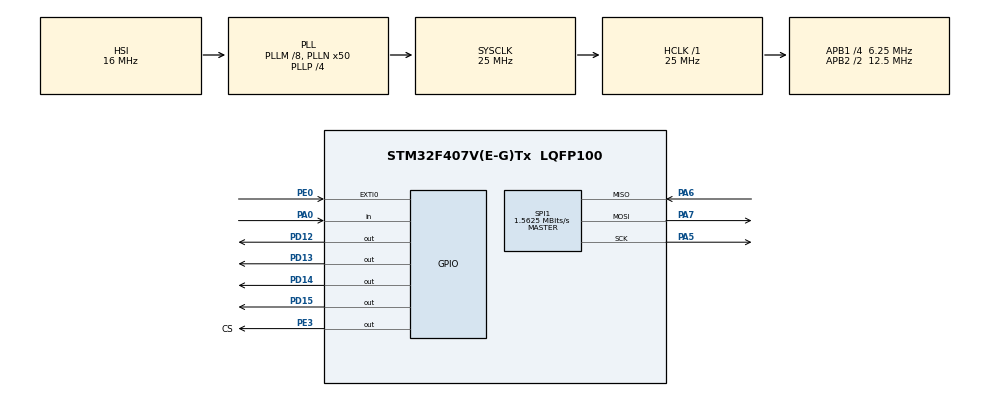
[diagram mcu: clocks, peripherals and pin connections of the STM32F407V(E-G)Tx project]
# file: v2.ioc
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Mcu.Family=STM32F4
Mcu.Name=STM32F407V(E-G)Tx
Mcu.Package=LQFP100
NVIC.EXTI0_IRQn=true\:0\:0\:false\:false\:true\:true
NVIC.PriorityGroup=NVIC_PRIORITYGROUP_0
PA0-WKUP.Signal=GPIO_Input
PA5.Mode=Full_Duplex_Master
PA5.Signal=SPI1_SCK
PA6.Mode=Full_Duplex_Master
PA6.Signal=SPI1_MISO
PA7.Mode=Full_Duplex_Master
PA7.Signal=SPI1_MOSI
PD12.Signal=GPIO_Output
PD13.Signal=GPIO_Output
PD14.Signal=GPIO_Output
PD15.Signal=GPIO_Output
PE0.Signal=GPXTI0
PE3.GPIO_Label=CS
PE3.Signal=GPIO_Output
ProjectManager.HeapSize=0x200
ProjectManager.StackSize=0x400
ProjectManager.TargetToolchain=TrueSTUDIO
RCC.48MHZClocksFreq_Value=14285714.285714285
RCC.AHBFreq_Value=25000000
RCC.APB1CLKDivider=RCC_HCLK_DIV4
RCC.APB1Freq_Value=6250000
RCC.APB1TimFreq_Value=12500000
RCC.APB2CLKDivider=RCC_HCLK_DIV2
RCC.APB2Freq_Value=12500000
RCC.APB2TimFreq_Value=25000000
RCC.CortexFreq_Value=25000000
RCC.HCLKFreq_Value=25000000
RCC.HSE_VALUE=8000000
RCC.HSI_VALUE=16000000
RCC.LSE_VALUE=32768
RCC.PLLM=8
RCC.PLLN=50
RCC.PLLP=RCC_PLLP_DIV4
RCC.PLLQ=7
RCC.SYSCLKFreq_VALUE=25000000
RCC.SYSCLKSource=RCC_SYSCLKSOURCE_PLLCLK
RCC.VCOOutputFreq_Value=100000000
SPI1.BaudRatePrescaler=SPI_BAUDRATEPRESCALER_8
SPI1.CalculateBaudRate=1.5625 MBits/s
SPI1.Direction=SPI_DIRECTION_2LINES
SPI1.Mode=SPI_MODE_MASTER
SPI1.VirtualType=VM_MASTER
board=STM32F4DISCOVERY

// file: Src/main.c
/* USER CODE BEGIN Header */
/**
  ******************************************************************************
  * @file           : main.c
  * @brief          : Main program body
  ******************************************************************************
  ** This notice applies to any and all portions of this file
  * that are not between comment pairs USER CODE BEGIN and
  * USER CODE END. Other portions of this file, whether
  * inserted by the user or by software development tools
  * are owned by their respective copyright owners.
  *
  * COPYRIGHT(c) 2019 STMicroelectronics
  *
  * Redistribution and use in source and binary forms, with or without modification,
  * are permitted provided that the following conditions are met:
  *   1. Redistributions of source code must retain the above copyright notice,
  *      this list of conditions and the following disclaimer.
  *   2. Redistributions in binary form must reproduce the above copyright notice,
  *      this list of conditions and the following disclaimer in the documentation
  *      and/or other materials provided with the distribution.
  *   3. Neither the name of STMicroelectronics nor the names of its contributors
  *      may be used to endorse or promote products derived from this software
  *      without specific prior written permission.
  *
  * THIS SOFTWARE IS PROVIDED BY THE COPYRIGHT HOLDERS AND CONTRIBUTORS "AS IS"
  * AND ANY EXPRESS OR IMPLIED WARRANTIES, INCLUDING, BUT NOT LIMITED TO, THE
  * IMPLIED WARRANTIES OF MERCHANTABILITY AND FITNESS FOR A PARTICULAR PURPOSE ARE
  * DISCLAIMED. IN NO EVENT SHALL THE COPYRIGHT HOLDER OR CONTRIBUTORS BE LIABLE
  * FOR ANY DIRECT, INDIRECT, INCIDENTAL, SPECIAL, EXEMPLARY, OR CONSEQUENTIAL
  * DAMAGES (INCLUDING, BUT NOT LIMITED TO, PROCUREMENT OF SUBSTITUTE GOODS OR
  * SERVICES; LOSS OF USE, DATA, OR PROFITS; OR BUSINESS INTERRUPTION) HOWEVER
  * CAUSED AND ON ANY THEORY OF LIABILITY, WHETHER IN CONTRACT, STRICT LIABILITY,
  * OR TORT (INCLUDING NEGLIGENCE OR OTHERWISE) ARISING IN ANY WAY OUT OF THE USE
  * OF THIS SOFTWARE, EVEN IF ADVISED OF THE POSSIBILITY OF SUCH DAMAGE.
  *
  ******************************************************************************
  */
/* USER CODE END Header */

#include "main.h"
#include "MY_LIS3DSH.h"

SPI_HandleTypeDef hspi1;      // DEFINITION SPI MODULE

void SystemClock_Config(void);
static void MX_GPIO_Init(void);
static void MX_SPI1_Init(void);

LIS3DSH_DataScaled myData;

int main(void)
{
  /* USER CODE BEGIN 1 */
	LIS3DSH_InitTypeDef MyAccConfDeff;
  /* USER CODE END 1 */

  /* MCU Configuration--------------------------------------------------------*/

  /* Reset of all peripherals, Initializes the Flash interface and the Systick. */
  HAL_Init();

  /* Configure the system clock */
  SystemClock_Config();

  /* Initialize all configured peripherals */
  MX_GPIO_Init();
  MX_SPI1_Init();
  /* USER CODE BEGIN 2 */

  /* CONFF PARAMETERS */
  MyAccConfDeff.dataRate = LIS3DSH_DATARATE_12_5;
  MyAccConfDeff.fullScale = LIS3DSH_FULLSCALE_4;
  MyAccConfDeff.antiAliasingBW = LIS3DSH_FILTER_BW_50;
  MyAccConfDeff.enableAxes = LIS3DSH_XYZ_ENABLE;
  MyAccConfDeff.interruptEnable = false;

  LIS3DSH_Init(&hspi1, &MyAccConfDeff);

  /* Infinite loop */
  while (1)
  {

    /* USER CODE BEGIN 3 */
	  if(LIS3DSH_PollDRDY(1000) == true ){

		 myData = LIS3DSH_GetDataScaled();
		 HAL_GPIO_TogglePin(GPIOD, GPIO_PIN_12);

		 if(myData.z > 1000){
			 HAL_GPIO_WritePin(GPIOD, GPIO_PIN_12, GPIO_PIN_RESET);
			 HAL_GPIO_WritePin(GPIOD, GPIO_PIN_13, GPIO_PIN_RESET);
			 HAL_GPIO_WritePin(GPIOD, GPIO_PIN_14, GPIO_PIN_RESET);
			 HAL_GPIO_WritePin(GPIOD, GPIO_PIN_15, GPIO_PIN_RESET);

		 }

		 if(myData.x > 550){
			 HAL_GPIO_WritePin(GPIOD, GPIO_PIN_14, GPIO_PIN_SET);

		 }
		 else {
			 HAL_GPIO_WritePin(GPIOD, GPIO_PIN_14, GPIO_PIN_RESET);
		}

		 if(myData.x < -550){
			 HAL_GPIO_WritePin(GPIOD, GPIO_PIN_12, GPIO_PIN_SET);

		 }
		 else {
			 HAL_GPIO_WritePin(GPIOD, GPIO_PIN_12, GPIO_PIN_RESET);
		}

		 if(myData.y > 350){
			 HAL_GPIO_WritePin(GPIOD, GPIO_PIN_13, GPIO_PIN_SET);

		 }
		 else {
			 HAL_GPIO_WritePin(GPIOD, GPIO_PIN_13, GPIO_PIN_RESET);
		}

		 if(myData.y < -350){
			 HAL_GPIO_WritePin(GPIOD, GPIO_PIN_15, GPIO_PIN_SET);

		 }
		 else {
			 HAL_GPIO_WritePin(GPIOD, GPIO_PIN_15, GPIO_PIN_RESET);
		}

	  }

	  }
  }
  /* USER CODE END 3 */

void SystemClock_Config(void)
{
  RCC_OscInitTypeDef RCC_OscInitStruct = {0};
  RCC_ClkInitTypeDef RCC_ClkInitStruct = {0};

  /**Configure the main internal regulator output voltage
  */
  __HAL_RCC_PWR_CLK_ENABLE();
  __HAL_PWR_VOLTAGESCALING_CONFIG(PWR_REGULATOR_VOLTAGE_SCALE1);
  /**Initializes the CPU, AHB and APB busses clocks
  */
  RCC_OscInitStruct.OscillatorType = RCC_OSCILLATORTYPE_HSI;
  RCC_OscInitStruct.HSIState = RCC_HSI_ON;
  RCC_OscInitStruct.HSICalibrationValue = RCC_HSICALIBRATION_DEFAULT;
  RCC_OscInitStruct.PLL.PLLState = RCC_PLL_ON;
  RCC_OscInitStruct.PLL.PLLSource = RCC_PLLSOURCE_HSI;
  RCC_OscInitStruct.PLL.PLLM = 8;
  RCC_OscInitStruct.PLL.PLLN = 50;
  RCC_OscInitStruct.PLL.PLLP = RCC_PLLP_DIV4;
  RCC_OscInitStruct.PLL.PLLQ = 7;
  if (HAL_RCC_OscConfig(&RCC_OscInitStruct) != HAL_OK)
  {
    Error_Handler();
  }
  /**Initializes the CPU, AHB and APB busses clocks
  */
  RCC_ClkInitStruct.ClockType = RCC_CLOCKTYPE_HCLK|RCC_CLOCKTYPE_SYSCLK
                              |RCC_CLOCKTYPE_PCLK1|RCC_CLOCKTYPE_PCLK2;
  RCC_ClkInitStruct.SYSCLKSource = RCC_SYSCLKSOURCE_PLLCLK;
  RCC_ClkInitStruct.AHBCLKDivider = RCC_SYSCLK_DIV1;
  RCC_ClkInitStruct.APB1CLKDivider = RCC_HCLK_DIV4;
  RCC_ClkInitStruct.APB2CLKDivider = RCC_HCLK_DIV2;

  if (HAL_RCC_ClockConfig(&RCC_ClkInitStruct, FLASH_LATENCY_0) != HAL_OK)
  {
    Error_Handler();
  }
}

static void MX_SPI1_Init(void)
{

  /* SPI1 parameter configuration*/
  hspi1.Instance = SPI1;
  hspi1.Init.Mode = SPI_MODE_MASTER;
  hspi1.Init.Direction = SPI_DIRECTION_2LINES;
  hspi1.Init.DataSize = SPI_DATASIZE_8BIT;
  hspi1.Init.CLKPolarity = SPI_POLARITY_LOW;
  hspi1.Init.CLKPhase = SPI_PHASE_1EDGE;
  hspi1.Init.NSS = SPI_NSS_SOFT;
  hspi1.Init.BaudRatePrescaler = SPI_BAUDRATEPRESCALER_8;
  hspi1.Init.FirstBit = SPI_FIRSTBIT_MSB;
  hspi1.Init.TIMode = SPI_TIMODE_DISABLE;
  hspi1.Init.CRCCalculation = SPI_CRCCALCULATION_DISABLE;
  hspi1.Init.CRCPolynomial = 10;
  if (HAL_SPI_Init(&hspi1) != HAL_OK)
  {
    Error_Handler();
  }

}

static void MX_GPIO_Init(void)
{
  GPIO_InitTypeDef GPIO_InitStruct = {0};

  /* GPIO Ports Clock Enable */
  __HAL_RCC_GPIOE_CLK_ENABLE();
  __HAL_RCC_GPIOA_CLK_ENABLE();
  __HAL_RCC_GPIOD_CLK_ENABLE();

  /*Configure GPIO pin Output Level */
  HAL_GPIO_WritePin(CS_GPIO_Port, CS_Pin, GPIO_PIN_RESET);

  /*Configure GPIO pin Output Level */
  HAL_GPIO_WritePin(GPIOD, GPIO_PIN_12|GPIO_PIN_13|GPIO_PIN_14|GPIO_PIN_15, GPIO_PIN_RESET);

  /*Configure GPIO pin : CS_Pin */
  GPIO_InitStruct.Pin = CS_Pin;
  GPIO_InitStruct.Mode = GPIO_MODE_OUTPUT_PP;
  GPIO_InitStruct.Pull = GPIO_NOPULL;
  GPIO_InitStruct.Speed = GPIO_SPEED_FREQ_LOW;
  HAL_GPIO_Init(CS_GPIO_Port, &GPIO_InitStruct);

  /*Configure GPIO pin : PA0 */
  GPIO_InitStruct.Pin = GPIO_PIN_0;
  GPIO_InitStruct.Mode = GPIO_MODE_INPUT;
  GPIO_InitStruct.Pull = GPIO_NOPULL;
  HAL_GPIO_Init(GPIOA, &GPIO_InitStruct);

  /*Configure GPIO pins : PD12 PD13 PD14 PD15 */
  GPIO_InitStruct.Pin = GPIO_PIN_12|GPIO_PIN_13|GPIO_PIN_14|GPIO_PIN_15;
  GPIO_InitStruct.Mode = GPIO_MODE_OUTPUT_PP;
  GPIO_InitStruct.Pull = GPIO_NOPULL;
  GPIO_InitStruct.Speed = GPIO_SPEED_FREQ_LOW;
  HAL_GPIO_Init(GPIOD, &GPIO_InitStruct);

  /*Configure GPIO pin : PE0 */
  GPIO_InitStruct.Pin = GPIO_PIN_0;
  GPIO_InitStruct.Mode = GPIO_MODE_IT_RISING;
  GPIO_InitStruct.Pull = GPIO_NOPULL;
  HAL_GPIO_Init(GPIOE, &GPIO_InitStruct);

  /* EXTI interrupt init*/
  HAL_NVIC_SetPriority(EXTI0_IRQn, 0, 0);
  HAL_NVIC_EnableIRQ(EXTI0_IRQn);

}

void Error_Handler(void)
{
}

/************************ (C) COPYRIGHT STMicroelectronics *****END OF FILE****/
